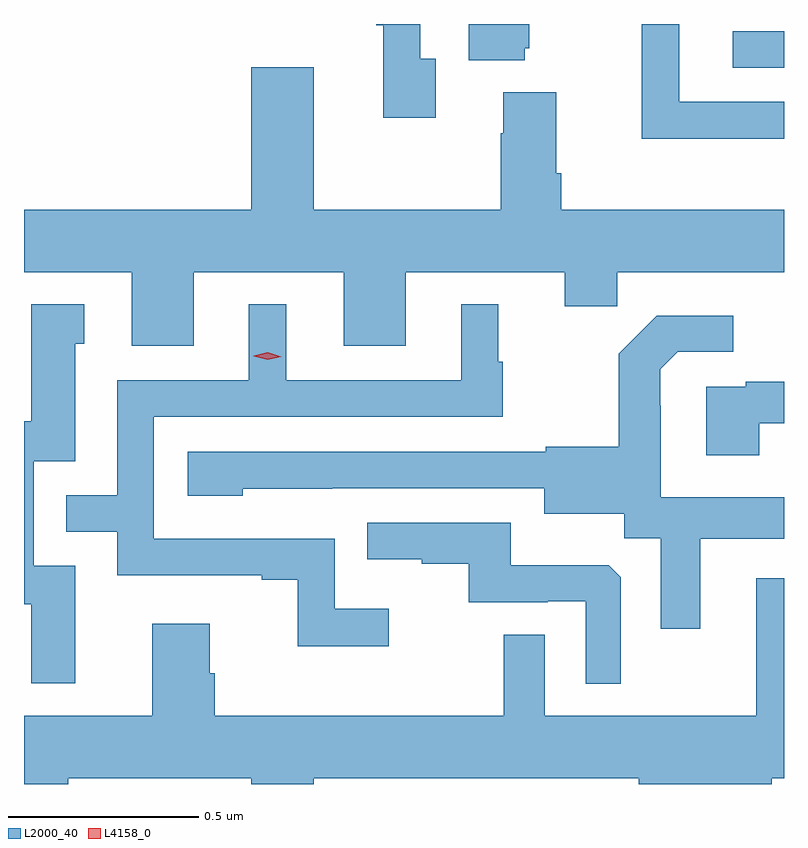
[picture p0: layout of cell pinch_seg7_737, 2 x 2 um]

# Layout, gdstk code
import gdstk
lib = gdstk.Library(unit=1e-6, precision=1e-09)
def R(c, l, rs):  # rectangles x0, y0, x1, y1
    for r in rs: c.add(gdstk.rectangle(r[:2], r[2:], *l))
def P(c, l, *ps):  # polygons
    for p in ps: c.add(gdstk.Polygon(p, *l))
L2000_40 = (2000, 40)
L4158_0 = (4158, 0)

pinch_seg7_737 = lib.new_cell('pinch_seg7_737')
R(pinch_seg7_737, L2000_40, [(262.179,1031.79,262.314,1031.886)])
P(pinch_seg7_737, L2000_40, [(261.397,1031.814),(261.357,1031.814),(261.357,1031.905),(261.241,1031.905),(261.241,1031.902),(261.26,1031.902),(261.26,1031.658),(261.397,1031.658)],
  [(262.314,1031.7),(262.038,1031.7),(262.038,1031.905),(261.94,1031.905),(261.94,1031.603),(262.314,1031.603)],
  [(261.632,1031.841),(261.643,1031.841),(261.643,1031.905),(261.485,1031.905),(261.485,1031.81),(261.632,1031.81)],
  [(261.715,1031.512),(261.715,1031.725),(261.575,1031.725),(261.575,1031.618),(261.568,1031.618),(261.568,1031.416),(261.076,1031.416),(261.076,1031.791),(260.912,1031.791),(260.912,1031.416),(260.314,1031.416),(260.314,1031.252),(260.597,1031.252),(260.597,1031.058),(260.761,1031.058),(260.761,1031.252),(261.155,1031.252),(261.155,1031.058),(261.319,1031.058),(261.319,1031.252),(261.737,1031.252),(261.737,1031.162),(261.875,1031.162),(261.875,1031.252),(262.314,1031.252),(262.314,1031.416),(261.728,1031.416),(261.728,1031.512)],
  [(260.449,1030.479),(260.34,1030.479),(260.34,1030.755),(260.449,1030.755),(260.449,1031.064),(260.473,1031.064),(260.473,1031.167),(260.333,1031.167),(260.333,1030.86),(260.314,1030.86),(260.314,1030.378),(260.333,1030.378),(260.333,1030.17),(260.449,1030.17)],
  [(261.274,1030.366),(261.132,1030.366),(261.132,1030.551),(260.655,1030.551),(260.655,1030.872),(261.574,1030.872),(261.574,1031.016),(261.562,1031.016),(261.562,1031.167),(261.464,1031.167),(261.464,1030.968),(261.004,1030.968),(261.004,1031.167),(260.906,1031.167),(260.906,1030.968),(260.559,1030.968),(260.559,1030.665),(260.425,1030.665),(260.425,1030.569),(260.559,1030.569),(260.559,1030.455),(260.939,1030.455),(260.939,1030.443),(261.034,1030.443),(261.034,1030.268),(261.274,1030.268)],
  [(262.093,1030.55),(262.314,1030.55),(262.314,1030.66),(261.99,1030.66),(261.99,1030.901),(261.988,1030.901),(261.988,1030.996),(262.035,1031.043),(262.18,1031.043),(262.18,1031.137),(261.979,1031.137),(261.879,1031.037),(261.879,1030.792),(261.687,1030.792),(261.687,1030.779),(260.745,1030.779),(260.745,1030.664),(260.889,1030.664),(260.889,1030.682),(261.125,1030.682),(261.125,1030.683),(261.683,1030.683),(261.683,1030.616),(261.894,1030.616),(261.894,1030.552),(261.989,1030.552),(261.989,1030.314),(262.093,1030.314)],
  [(262.249,1030.854),(262.314,1030.854),(262.314,1030.963),(262.213,1030.963),(262.213,1030.95),(262.109,1030.95),(262.109,1030.77),(262.249,1030.77)],
  [(261.885,1030.449),(261.853,1030.481),(261.595,1030.481),(261.595,1030.593),(261.217,1030.593),(261.217,1030.496),(261.361,1030.496),(261.361,1030.485),(261.485,1030.485),(261.485,1030.383),(261.692,1030.383),(261.692,1030.386),(261.792,1030.386),(261.792,1030.169),(261.885,1030.169)],
  [(260.431,1029.92),(260.912,1029.92),(260.912,1029.905),(261.076,1029.905),(261.076,1029.92),(261.932,1029.92),(261.932,1029.905),(262.282,1029.905),(262.282,1029.92),(262.314,1029.92),(262.314,1030.447),(262.241,1030.447),(262.241,1030.084),(261.684,1030.084),(261.684,1030.298),(261.576,1030.298),(261.576,1030.084),(260.816,1030.084),(260.816,1030.197),(260.803,1030.197),(260.803,1030.327),(260.651,1030.327),(260.651,1030.084),(260.314,1030.084),(260.314,1029.905),(260.431,1029.905)])
P(pinch_seg7_737, L4158_0, [(260.955,1031.021),(260.919,1031.031),(260.919,1031.032),(260.919,1031.032),(260.955,1031.041),(260.991,1031.03),(260.991,1031.03),(260.991,1031.03)])

lib.write_gds('pinch_seg7_737.gds')
